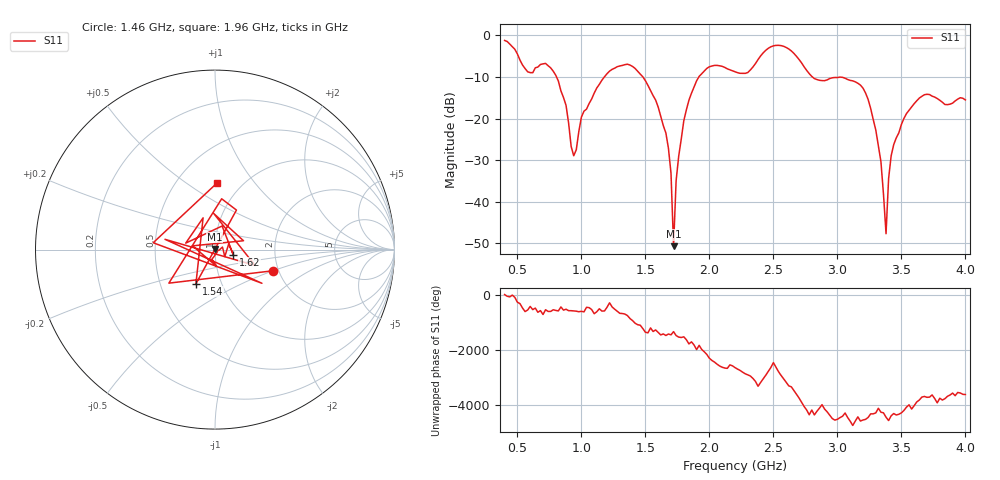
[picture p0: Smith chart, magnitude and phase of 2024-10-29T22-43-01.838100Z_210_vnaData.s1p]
!Created with skrf (http://scikit-rf.org).
# Hz S RI R 50.0
!freq ReS11 ImS11
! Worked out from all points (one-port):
!   181 points, 400 MHz to 4 GHz, reference 50 ohm
!   lowest |S11| = -50.7 dB at 1.72 GHz (marker M1), VSWR 1.01, Z = 49.9 + j0.281 ohm
!   |S11| at or under -10 dB: 805.9 MHz to 1.179 GHz (372.9 MHz wide, 37.6 % of centre); 1.481 GHz to 1.917 GHz (436.3 MHz wide, 25.7 % of centre); 2.806 GHz to end of sweep
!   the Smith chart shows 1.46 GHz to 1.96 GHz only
!   S11 on the Smith chart (normalised r, x): 1.46 GHz: 1.86, -0.50; 1.54 GHz: 0.76, -0.30; 1.62 GHz: 1.22, -0.07; 1.96 GHz: 0.77, +0.67
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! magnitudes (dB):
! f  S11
! 400 MHz  -1.2
! 580 MHz  -8.7
! 760 MHz  -7.8
! 860 MHz  -14.9
! 940 MHz  -29.0
! 1.02 GHz  -18.2
! 1.3 GHz  -7.3
! 1.46 GHz  -9.3
! 1.54 GHz  -13.2
! 1.62 GHz  -19.5
! 1.7 GHz  -33.2
! 1.72 GHz  -50.7
! 1.74 GHz  -35.0
! 1.76 GHz  -29.1
! 1.84 GHz  -15.6
! 1.96 GHz  -8.6
! 2.2 GHz  -8.7
! 2.66 GHz  -4.3
! 2.82 GHz  -10.4
! 3.1 GHz  -10.8
! 3.22 GHz  -13.8
! 3.3 GHz  -22.8
! 3.34 GHz  -30.4
! 3.38 GHz  -47.7
! 3.4 GHz  -34.5
! 3.42 GHz  -29.0
! 3.56 GHz  -18.0
! 4 GHz  -15.5
